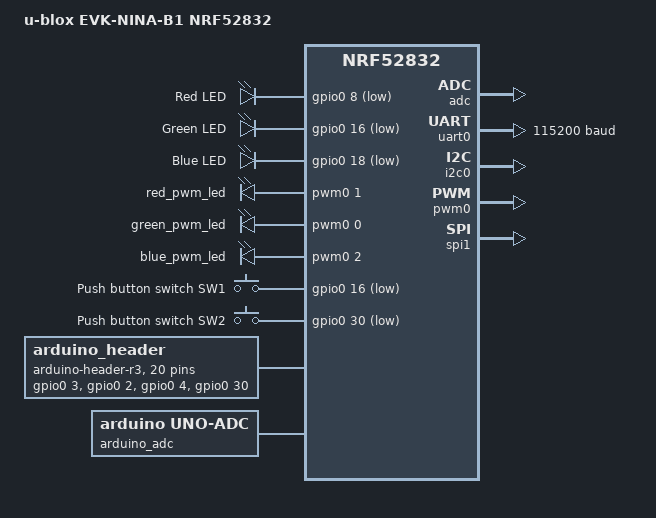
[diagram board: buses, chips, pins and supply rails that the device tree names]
/*
 * Copyright (c) 2021 u-blox AG
 *
 * SPDX-License-Identifier: Apache-2.0
 */

/dts-v1/;
#include <nordic/nrf52832_qfaa.dtsi>
#include "ubx_evkninab1_nrf52832-pinctrl.dtsi"
#include <zephyr/dt-bindings/input/input-event-codes.h>

/ {
	model = "u-blox EVK-NINA-B1 NRF52832";
	compatible = "u-blox,ubx_evkninab1_nrf52832";

	chosen {
		zephyr,console = &uart0;
		zephyr,shell-uart = &uart0;
		zephyr,uart-mcumgr = &uart0;
		zephyr,bt-mon-uart = &uart0;
		zephyr,bt-c2h-uart = &uart0;
		zephyr,sram = &sram0;
		zephyr,flash = &flash0;
		zephyr,code-partition = &slot0_partition;
	};

	leds {
		compatible = "gpio-leds";
		led0: led_0 {
			/* NINA-B1 GPIO_1 */
			gpios = <&gpio0 8 GPIO_ACTIVE_LOW>;
			label = "Red LED";
		};
		led1: led_1 {
			/* NINA-B1 GPIO_7 */
			gpios = <&gpio0 16 GPIO_ACTIVE_LOW>;
			label = "Green LED";
		};
		led2: led_2 {
			/*NINA-B1 GPIO_8 */
			gpios = <&gpio0 18 GPIO_ACTIVE_LOW>;
			label = "Blue LED";
		};
	};

	pwmleds {
		compatible = "pwm-leds";
		red_pwm_led: red_pwm_led {
			pwms = <&pwm0 1 PWM_MSEC(20) PWM_POLARITY_INVERTED>;
		};
		green_pwm_led: green_pwm_led {
			pwms = <&pwm0 0 PWM_MSEC(20) PWM_POLARITY_INVERTED>;
		};
		blue_pwm_led: blue_pwm_led {
			pwms = <&pwm0 2 PWM_MSEC(20) PWM_POLARITY_INVERTED>;
		};
	};

	buttons {
		compatible = "gpio-keys";
		button0: button_0 {
			/* EVK-NINA-B1 SW1 button */
			gpios = <&gpio0 16 (GPIO_PULL_UP | GPIO_ACTIVE_LOW)>;
			label = "Push button switch SW1";
			zephyr,code = <INPUT_KEY_0>;
		};
		button1: button_1 {
			/* EVK-NINA-B1 SW2 button */
			gpios = <&gpio0 30 (GPIO_PULL_UP | GPIO_ACTIVE_LOW)>;
			label = "Push button switch SW2";
			zephyr,code = <INPUT_KEY_1>;
		};
	};

	arduino_header: connector {
		compatible = "arduino-header-r3";
		#gpio-cells = <2>;
		gpio-map-mask = <0xffffffff 0xffffffc0>;
		gpio-map-pass-thru = <0 0x3f>;
		gpio-map = <0 0 &gpio0 3 0>,	/* A0 */
			   <1 0 &gpio0 2 0>,	/* A1 */
			   <2 0 &gpio0 4 0>,	/* A2 */
			   <3 0 &gpio0 30 0>,	/* A3 */
			   <4 0 &gpio0 29 0>,	/* A4 */
			   <5 0 &gpio0 28 0>,	/* A5 */
			   <6 0 &gpio0 5 0>,	/* D0 */
			   <7 0 &gpio0 6 0>,	/* D1 */
			   <8 0 &gpio0 7 0>,	/* D2 */
			   <9 0 &gpio0 31 0>,	/* D3 */
			   <10 0 &gpio0 18 0>,	/* D4 */
			   /* 11 SWDIO */		/* D5 */
			   <12 0 &gpio0 9 0>,	/* D6 */
			   <13 0 &gpio0 10 0>,	/* D7 */
			   /* 14 SWDCLK */		/* D8 */
			   <15 0 &gpio0 8 0>,	/* D9 */
			   <16 0 &gpio0 11 0>,	/* D10 */
			   <17 0 &gpio0 13 0>,	/* D11 */
			   <18 0 &gpio0 12 0>,	/* D12 */
			   <19 0 &gpio0 14 0>,	/* D13 */
			   <20 0 &gpio0 2 0>,	/* D14 */
			   <21 0 &gpio0 3 0>;	/* D15 */
	};

	arduino_adc: analog-connector {
		compatible = "arduino,uno-adc";
		#io-channel-cells = <1>;
		io-channel-map = <0 &adc 1>,	/* A0 = P0.3 = AIN1 */
				 <1 &adc 2>,	/* A1 = P0.2 = AIN2 */
				 <2 &adc 4>,	/* A2 = P0.4 = AIN4 */
				 <3 &adc 5>,	/* A3 = P0.30 = AIN5 */
				 <4 &adc 6>,	/* A4 = P0.29 = AIN6 */
				 <5 &adc 7>;	/* A5 = P0.28 = AIN7 */
	};

	/* These aliases are provided for compatibility with samples */
	aliases {
		led0 = &led0;
		led1 = &led1;
		led2 = &led2;
		pwm-led0 = &red_pwm_led;
		pwm-led1 = &green_pwm_led;
		pwm-led2 = &blue_pwm_led;
		red-pwm-led = &red_pwm_led;
		green-pwm-led = &green_pwm_led;
		blue-pwm-led = &blue_pwm_led;
		sw0 = &button0;
		sw1 = &button1;
		watchdog0 = &wdt0;
	};
};

&reg {
	regulator-initial-mode = <NRF5X_REG_MODE_DCDC>;
};

&adc {
	status = "okay";
};

&uicr {
	gpio-as-nreset;
};

&gpiote {
	status = "okay";
};

&gpio0 {
	status = "okay";
};


&uart0 {
	compatible = "nordic,nrf-uarte";
	status = "okay";
	current-speed = <115200>;
	pinctrl-0 = <&uart0_default>;
	pinctrl-1 = <&uart0_sleep>;
	pinctrl-names = "default", "sleep";
};

arduino_i2c: &i2c0 {
	compatible = "nordic,nrf-twi";
	status = "okay";
	pinctrl-0 = <&i2c0_default>;
	pinctrl-1 = <&i2c0_sleep>;
	pinctrl-names = "default", "sleep";
};

&i2c1 {
	compatible = "nordic,nrf-twi";
	/* Cannot be used together with spi1. */
	/* status = "okay"; */
	pinctrl-0 = <&i2c1_default>;
	pinctrl-1 = <&i2c1_sleep>;
	pinctrl-names = "default", "sleep";
};

&pwm0 {
	status = "okay";
	pinctrl-0 = <&pwm0_default>;
	pinctrl-1 = <&pwm0_sleep>;
	pinctrl-names = "default", "sleep";
};

arduino_spi: &spi0 {
	compatible = "nordic,nrf-spi";
	/* Cannot be use simultaneously with i2c0 */
	/* status = "okay"; */
	cs-gpios = <&arduino_header 16 GPIO_ACTIVE_LOW>; /* D10 */
	pinctrl-0 = <&spi0_default>;
	pinctrl-1 = <&spi0_sleep>;
	pinctrl-names = "default", "sleep";
};

&spi1 {
	compatible = "nordic,nrf-spi";
	status = "okay";
	pinctrl-0 = <&spi1_default>;
	pinctrl-1 = <&spi1_sleep>;
	pinctrl-names = "default", "sleep";
};

&flash0 {
	partitions {
		compatible = "fixed-partitions";
		#address-cells = <1>;
		#size-cells = <1>;

		boot_partition: partition@0 {
			label = "mcuboot";
			reg = <0x00000000 0xc000>;
		};
		slot0_partition: partition@c000 {
			label = "image-0";
			reg = <0x0000C000 0x32000>;
		};
		slot1_partition: partition@3e000 {
			label = "image-1";
			reg = <0x0003E000 0x32000>;
		};
		scratch_partition: partition@70000 {
			label = "image-scratch";
			reg = <0x00070000 0xa000>;
		};
		storage_partition: partition@7a000 {
			label = "storage";
			reg = <0x0007a000 0x00006000>;
		};
	};
};
